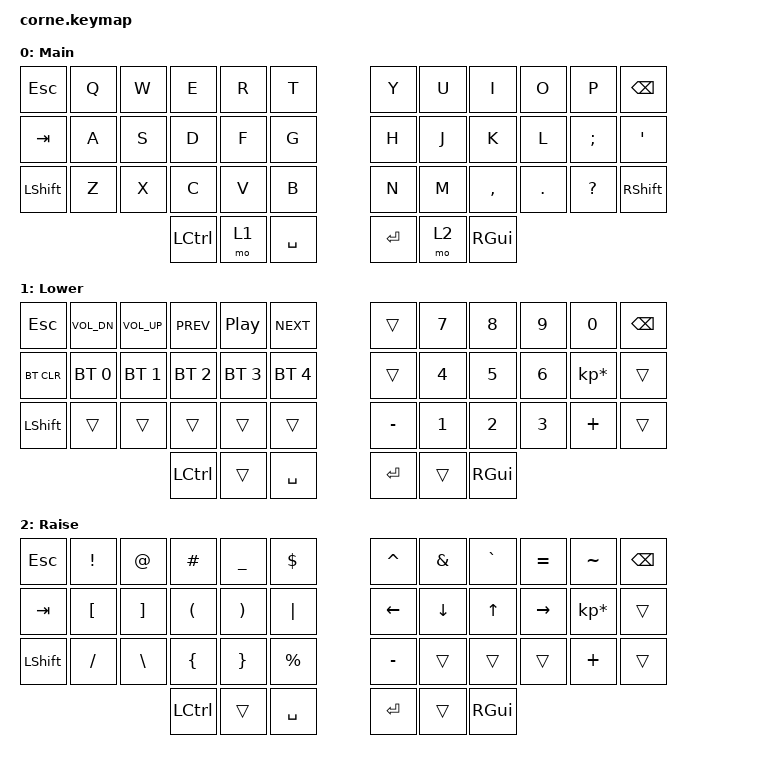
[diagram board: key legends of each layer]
/*
 * Copyright (c) 2020 The ZMK Contributors
 *
 * SPDX-License-Identifier: MIT
 */

#include <behaviors.dtsi>
#include <dt-bindings/zmk/keys.h>
#include <dt-bindings/zmk/bt.h>

/ {
        keymap {
                compatible = "zmk,keymap";
                default_layer {
// -----------------------------------------------------------------------------------------
// | ESC  |  Q  |  W  |  E  |  R  |  T  |   |  Y  |  U   |  I  |  O  |  P  | BKSP |
// | TAB  |  A  |  S  |  D  |  F  |  G  |   |  H  |  J   |  K  |  L  |  ;  |  '   |
// | SHFT |  Z  |  X  |  C  |  V  |  B  |   |  N  |  M   |  ,  |  .  |  ?  | SHFT  |
//                    | CTRL | LWR | SPC |   | ENT | RSE  | GUI |
                        display-name = "Main";
                        bindings = <
   &kp ESC   &kp Q &kp W &kp E &kp R &kp T   &kp Y &kp U  &kp I     &kp O   &kp P    &kp BSPC
   &kp TAB  &kp A &kp S &kp D &kp F &kp G   &kp H &kp J  &kp K     &kp L   &kp SEMI &kp SQT
   &kp LSHFT &kp Z &kp X &kp C &kp V &kp B   &kp N &kp M  &kp COMMA &kp DOT &kp QMARK &kp RSHFT
                  &kp LCTRL &mo 1 &kp SPACE   &kp RET &mo 2 &kp RGUI
                        >;
                };
                lower_layer {
// -----------------------------------------------------------------------------------------
// | ESC  | VDN | VUP | PRW | P/P | NXT |   |    |  7  |  8  |  9  |  0  | BKSP |
// | BTCLR| BT1 | BT2 | BT3 | BT4 | BT5 |   |    |  4  |  5  |  6  |  *  |      |
// | SHFT |     |     |     |     |     |   | -  |  1  |  2  |  3  |  +  |      |
//                    | CTRL |     | SPC |   | ENT |     | GUI |
                        display-name = "Lower";
                        bindings = <
   &kp ESC    &kp C_VOL_DN &kp C_VOL_UP &kp  C_PREV  &kp C_PP     &kp C_NEXT   &trans   &kp N7  &kp N8  &kp N9    &kp N0 &kp BSPC
   &bt BT_CLR &bt BT_SEL 0 &bt BT_SEL 1 &bt BT_SEL 2 &bt BT_SEL 3 &bt BT_SEL 4 &trans   &kp N4  &kp N5  &kp N6    &kp KP_MULTIPLY &trans
   &kp LSHFT  &trans       &trans       &trans       &trans       &trans       &kp MINUS &kp N1  &kp N2  &kp N3    &kp PLUS &trans
                          	        &kp LCTRL     &trans       &kp SPACE       &kp RET  &trans   &kp RGUI
                        >;
                };

                raise_layer {
// -----------------------------------------------------------------------------------------
// |  ESC |  !  |  @  |  #  |  _  |  $  |   |  ^  |  &  |  `  |  =  |  ~  | BKSP |
// | TAB  |  [  |  ]  |  (  |  )  | "|" |   | LFT | DWN | UP  | RGT |  *  |  '  |
// | SHFT |  /  |  \  |  {  |  }  |  %  |   |  -  |     |     |     |  +  |      |
//                    | CTRL |    | SPC |   | ENT |     | GUI |
                        display-name = "Raise";
                        bindings = <
   &kp  ESC   &kp EXCL &kp AT &kp HASH &kp UNDER &kp DLLR   &kp CARET  &kp AMPS   &kp GRAVE   &kp EQUAL &kp TILDE       &kp BSPC
   &kp  TAB &kp LBKT    &kp RBKT  &kp LPAR    &kp RPAR     &kp PIPE      &kp LEFT   &kp DOWN &kp UP &kp RIGHT &kp KP_MULTIPLY &trans
   &kp  LSHFT &kp FSLH    &kp BSLH  &kp LBRC    &kp RBRC     &kp PRCNT   &kp MINUS &trans   &trans   &trans    &kp PLUS    &trans
                    	     &kp LCTRL &trans   &kp SPACE   &kp RET   &trans    &kp RGUI
                        >;
                };
        };
};
